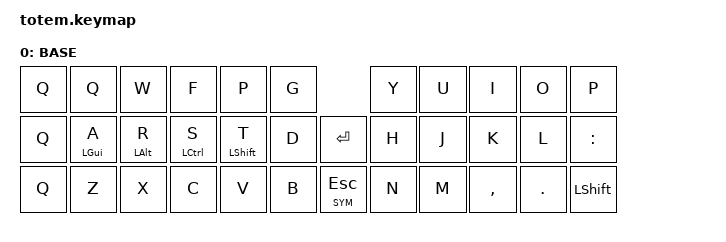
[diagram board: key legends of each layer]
//
//                                                        ▀▀▀▀▀     ▀▀▀▀▀          ▀▀█▀▀
//                                                        ▄▀▀▀▄  ▄  ▄▀▀▀▄  ▄  ▄▀▀▀▄  █  ▄▀▀▀▄
//                                                        █   █  █  █   █  █  █   █  █  █   █
//                                                         ▀▀▀   █   ▀▀▀   █   ▀▀▀   ▀   ▀▀▀
//                                                               █      ▄▄▄█▄▄▄    █   █  
//                                                               ▀      █  █  █     █▄█
//                                                             ▀▀▀▀▀    █  █  █      ▀
//                                                                      ▀  ▀  ▀
//
// ▄▄▄▄▄▄▄▄▄▄▄▄▄▄▄▄▄▄▄▄▄▄▄▄▄▄▄▄▄▄▄▄▄▄▄▄▄▄▄▄▄▄▄▄▄▄▄▄▄▄▄▄▄▄▄▄▄▄▄▄▄▄▄▄▄▄▄▄▄▄▄▄▄▄▄▄▄▄▄▄▄▄▄▄▄▄▄▄▄▄▄▄▄▄▄▄▄▄▄▄▄▄▄▄▄▄▄▄▄▄▄▄▄▄▄▄▄▄▄▄▄▄▄▄▄▄▄▄▄▄▄▄▄▄▄▄▄▄▄▄▄▄▄▄▄▄▄▄▄
       

#include <behaviors.dtsi>
#include <dt-bindings/zmk/keys.h>
#include <dt-bindings/zmk/bt.h>
#include <dt-bindings/zmk/outputs.h>

#define BASE 0

&mt {
  quick-tap-ms = <100>;
  global-quick-tap;
  flavor = "tap-preferred";
  tapping-term-ms = <170>;
};

/ {
     combos {
            compatible = "zmk,combos";
            combo_esc {
                timeout-ms = <50>;
                key-positions = <0 1>;
                bindings = <&kp ESC>;
            };
            combo_tvp {
                timeout-ms = <100>;
                key-positions = <11 12 13>;
                bindings = <&tog TVP1>;
            };
    };

    macros {
        gif: gif {
            label = "giphy";
            compatible = "zmk,behavior-macro";
            #binding-cells = <0>;
            bindings
                = <&macro_press &kp LSHFT>
                , <&macro_tap &kp N2>
                , <&macro_release &kp LSHFT>
                , <&macro_tap &kp G &kp I &kp F>
                ;
        };
    };

        keymap {
                compatible = "zmk,keymap";
// ▄▄▄▄▄▄▄▄▄▄▄▄▄▄▄▄▄▄▄▄▄▄▄▄▄▄▄▄▄▄▄▄▄▄▄▄▄▄▄▄▄▄▄▄▄▄▄▄▄▄▄▄▄▄▄▄▄▄▄▄▄▄▄▄▄▄▄▄▄▄▄▄▄▄▄▄▄▄▄▄▄▄▄▄▄▄▄▄▄▄▄▄▄▄▄▄▄▄▄▄▄▄▄▄▄▄▄▄▄▄▄▄▄▄▄▄▄▄▄▄▄▄▄▄▄▄▄▄▄▄▄▄▄▄▄▄▄▄▄▄▄▄▄▄▄▄▄▄▄

                base_layer {
// ┏━━━━━━━━━━━━━━━━━━━━━━━━━━━━━━━━━━━━━━━┓
label= "BASE"                              ;
// ┗━━━━━━━━━━━━━━━━━━━━━━━━━━━━━━━━━━━━━━━┛
//             ┏━━━━━━━━━━━┳━━━━━━━━━━━┳━━━━━━━━━━━┳━━━━━━━━━━━┳━━━━━━━━━━━┓   ┏━━━━━━━━━━━┳━━━━━━━━━━━┳━━━━━━━━━━━┳━━━━━━━━━━━┳━━━━━━━━━━━┳━━━━━━━━━━━
//             ┃     Q     ┃     W     ┃     F     ┃     P     ┃     G     ┃   ┃           ┃     Y     ┃     U     ┃     I     ┃     O     ┃     P
//             ┣━━━━━━━━━━━╋━━━━━━━━━━━╋━━━━━━━━━━━╋━━━━━━━━━━━╋━━━━━━━━━━━┫   ┣━━━━━━━━━━━╋━━━━━━━━━━━╋━━━━━━━━━━━╋━━━━━━━━━━━╋━━━━━━━━━━━┫━━━━━━━━━━━╋
//             ┃     A     ┃     R     ┃     S     ┃     T     ┃     D     ┃   ┃    RET    ┃     H     ┃     J     ┃     K     ┃     L     ┃     ;
// ┏━━━━━━━━━━━╋━━━━━━━━━━━╋━━━━━━━━━━━╋━━━━━━━━━━━╋━━━━━━━━━━━╋━━━━━━━━━━━┫   ┣━━━━━━━━━━━╋━━━━━━━━━━━╋━━━━━━━━━━━╋━━━━━━━━━━━╋━━━━━━━━━━━╋━━━━━━━━━━━┓
// ┃     Q     ┃     Z     ┃     X     ┃     C     ┃     V     ┃     B     ┃   ┃    ESC    ┃     N     ┃     M     ┃     ,     ┃     .     ┃   LSHFT   ┃
// ┗━━━━━━━━━━━┻━━━━━━━━━━━┻━━━━━━━━━━━╋━━━━━━━━━━━╋━━━━━━━━━━━╋━━━━━━━━━━━┫   ┣━━━━━━━━━━━╋━━━━━━━━━━━╋━━━━━━━━━━━╋━━━━━━━━━━━┻━━━━━━━━━━━┻━━━━━━━━━━━┛
 bindings = <
// ╷           ╷           ╷           ╷           ╷           ╷           ╷   ╷           ╷           ╷           ╷           ╷           ╷           ╷

    &kp Q       &kp Q       &kp W       &kp F       &kp P       &kp G                       &kp Y       &kp U       &kp I       &kp O       &kp P
    &kp Q       &mt LGUI A  &mt LALT R  &mt LCTRL S &mt LSHFT T &kp D           &kp RET     &kp H       &kp J       &kp K       &kp L       &kp :
    &kp Q       &kp Z       &kp X       &kp C       &kp V       &kp B           &lt SYM ESC &kp N       &kp M       &kp COMMA   &kp DOT     &kp LSHFT
                        >;
                };

        };
};
